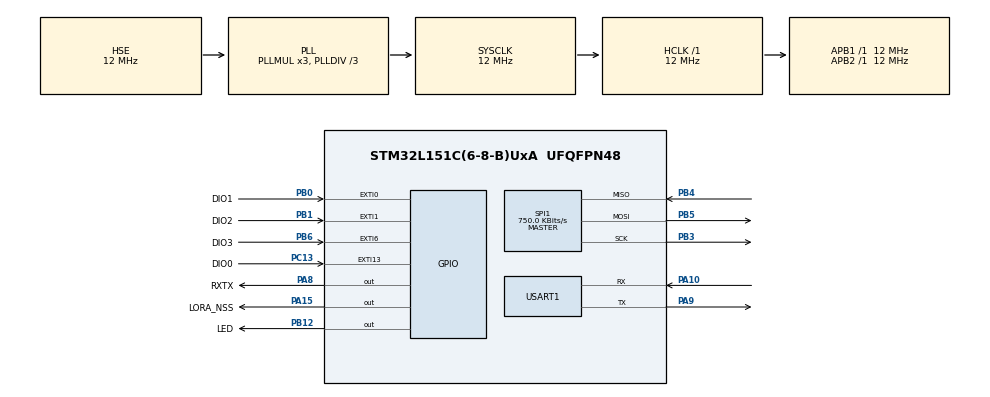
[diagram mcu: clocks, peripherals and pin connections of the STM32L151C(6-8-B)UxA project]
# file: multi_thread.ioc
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FREERTOS.INCLUDE_vTaskDelayUntil=1
FREERTOS.Tasks01=init,0,128,INIT,As weak,NULL,Dynamic,NULL,NULL
FREERTOS.configENABLE_BACKWARD_COMPATIBILITY=1
FREERTOS.configGENERATE_RUN_TIME_STATS=1
FREERTOS.configIDLE_SHOULD_YIELD=0
FREERTOS.configTIMER_TASK_PRIORITY=2
FREERTOS.configTIMER_TASK_STACK_DEPTH=128
FREERTOS.configUSE_IDLE_HOOK=0
FREERTOS.configUSE_NEWLIB_REENTRANT=0
FREERTOS.configUSE_PREEMPTION=1
FREERTOS.configUSE_STATS_FORMATTING_FUNCTIONS=1
FREERTOS.configUSE_TASK_NOTIFICATIONS=1
FREERTOS.configUSE_TICKLESS_IDLE=0
FREERTOS.configUSE_TIMERS=1
FREERTOS.configUSE_TRACE_FACILITY=1
Mcu.Family=STM32L1
Mcu.Name=STM32L151C(6-8-B)UxA
Mcu.Package=UFQFPN48
Mcu.UserConstants=BUFFER_SIZE,8
NVIC.EXTI0_IRQn=true\:6\:0\:true\:false\:true\:true\:true\:true\:true
NVIC.EXTI15_10_IRQn=true\:6\:0\:true\:false\:true\:true\:true\:true\:true
NVIC.EXTI1_IRQn=true\:6\:0\:true\:false\:true\:true\:true\:true\:true
NVIC.EXTI9_5_IRQn=true\:6\:0\:true\:false\:true\:true\:true\:true\:true
NVIC.PriorityGroup=NVIC_PRIORITYGROUP_4
NVIC.TIM2_IRQn=true\:15\:0\:false\:false\:true\:false\:false\:true\:true
NVIC.TIM3_IRQn=true\:1\:0\:true\:false\:true\:false\:true\:true\:true
NVIC.TimeBase=TIM2_IRQn
NVIC.TimeBaseIP=TIM2
NVIC.USART1_IRQn=true\:6\:0\:true\:false\:true\:true\:true\:true\:true
PA10.GPIO_PuPd=GPIO_PULLUP
PA10.Mode=Asynchronous
PA10.Signal=USART1_RX
PA15.GPIO_Label=LORA_NSS
PA15.GPIO_Speed=GPIO_SPEED_FREQ_VERY_HIGH
PA15.PinState=GPIO_PIN_SET
PA15.Signal=GPIO_Output
PA8.GPIO_Label=RXTX
PA8.GPIO_Speed=GPIO_SPEED_FREQ_VERY_HIGH
PA8.PinState=GPIO_PIN_RESET
PA8.Signal=GPIO_Output
PA9.GPIO_PuPd=GPIO_PULLUP
PA9.Mode=Asynchronous
PA9.Signal=USART1_TX
PB0.GPIO_Label=DIO1
PB0.Signal=GPXTI0
PB1.GPIO_Label=DIO2
PB1.Signal=GPXTI1
PB12.GPIO_Label=LED
PB12.GPIO_PuPd=GPIO_NOPULL
PB12.GPIO_Speed=GPIO_SPEED_FREQ_VERY_HIGH
PB12.PinState=GPIO_PIN_RESET
PB12.Signal=GPIO_Output
PB3.Mode=Full_Duplex_Master
PB3.Signal=SPI1_SCK
PB4.Mode=Full_Duplex_Master
PB4.Signal=SPI1_MISO
PB5.Mode=Full_Duplex_Master
PB5.Signal=SPI1_MOSI
PB6.GPIO_Label=DIO3
PB6.Signal=GPXTI6
PC13-WKUP2.GPIO_Label=DIO0
PC13-WKUP2.Signal=GPXTI13
PH0-OSC_IN.Mode=HSE-External-Oscillator
PH0-OSC_IN.Signal=RCC_OSC_IN
PH1-OSC_OUT.Mode=HSE-External-Oscillator
PH1-OSC_OUT.Signal=RCC_OSC_OUT
ProjectManager.HeapSize=0x200
ProjectManager.StackSize=0x400
ProjectManager.TargetToolchain=MDK-ARM V5.27
RCC.48MHZClocksFreq_Value=18000000
RCC.AHBFreq_Value=12000000
RCC.APB1Freq_Value=12000000
RCC.APB1TimFreq_Value=12000000
RCC.APB2Freq_Value=12000000
RCC.APB2TimFreq_Value=12000000
RCC.HCLKFreq_Value=12000000
RCC.HSE_VALUE=12000000
RCC.HSI_VALUE=16000000
RCC.LSE_VALUE=32768
RCC.MSI_VALUE=2097000
RCC.PLLDIV=RCC_PLL_DIV3
RCC.PLLSourceVirtual=RCC_PLLSOURCE_HSE
RCC.SYSCLKFreq_VALUE=12000000
RCC.SYSCLKSource=RCC_SYSCLKSOURCE_PLLCLK
RCC.VCOOutputFreq_Value=36000000
SPI1.BaudRatePrescaler=SPI_BAUDRATEPRESCALER_16
SPI1.CRCCalculation=SPI_CRCCALCULATION_DISABLE
SPI1.CalculateBaudRate=750.0 KBits/s
SPI1.Direction=SPI_DIRECTION_2LINES
SPI1.Mode=SPI_MODE_MASTER
SPI1.VirtualType=VM_MASTER
TIM3.Period=19
TIM3.Prescaler=5
USART1.VirtualMode=VM_ASYNC
VP_FREERTOS_VS_CMSIS_V1.Mode=CMSIS_V1
VP_SYS_VS_tim2.Mode=TIM2
VP_TIM3_VS_ClockSourceINT.Mode=Internal
board=custom

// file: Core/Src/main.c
/* USER CODE BEGIN Header */
/**
  ******************************************************************************
  * @file           : main.c
  * @brief          : Main program body
  ******************************************************************************
  * @attention
  *
  * Copyright (c) 2022 STMicroelectronics.
  * All rights reserved.
  *
  * This software is licensed under terms that can be found in the LICENSE file
  * in the root directory of this software component.
  * If no LICENSE file comes with this software, it is provided AS-IS.
  *
  ******************************************************************************
  */
/* USER CODE END Header */
#include "main.h"
#include "cmsis_os.h"
#include "spi.h"
#include "tim.h"
#include "usart.h"
#include "gpio.h"

/* USER CODE BEGIN Includes */
#include <stdio.h>
/* USER CODE END Includes */

void SystemClock_Config(void);
void MX_FREERTOS_Init(void);

int main(void)
{

  /* MCU Configuration--------------------------------------------------------*/

  /* Reset of all peripherals, Initializes the Flash interface and the Systick. */
  HAL_Init();

  /* Configure the system clock */
  SystemClock_Config();

  /* Initialize all configured peripherals */
  MX_GPIO_Init();
  MX_USART1_UART_Init();
  MX_SPI1_Init();
  MX_TIM3_Init();

  /* Call init function for freertos objects (in freertos.c) */
  MX_FREERTOS_Init();

  /* Start scheduler */
  osKernelStart();

  /* We should never get here as control is now taken by the scheduler */
  /* Infinite loop */
  while (1)
  {

  }
}

void SystemClock_Config(void)
{
  RCC_OscInitTypeDef RCC_OscInitStruct = {0};
  RCC_ClkInitTypeDef RCC_ClkInitStruct = {0};

  /** Configure the main internal regulator output voltage
  */
  __HAL_PWR_VOLTAGESCALING_CONFIG(PWR_REGULATOR_VOLTAGE_SCALE1);

  /** Initializes the RCC Oscillators according to the specified parameters
  * in the RCC_OscInitTypeDef structure.
  */
  RCC_OscInitStruct.OscillatorType = RCC_OSCILLATORTYPE_HSE;
  RCC_OscInitStruct.HSEState = RCC_HSE_ON;
  RCC_OscInitStruct.PLL.PLLState = RCC_PLL_ON;
  RCC_OscInitStruct.PLL.PLLSource = RCC_PLLSOURCE_HSE;
  RCC_OscInitStruct.PLL.PLLMUL = RCC_PLL_MUL3;
  RCC_OscInitStruct.PLL.PLLDIV = RCC_PLL_DIV3;
  if (HAL_RCC_OscConfig(&RCC_OscInitStruct) != HAL_OK)
  {
    Error_Handler();
  }

  /** Initializes the CPU, AHB and APB buses clocks
  */
  RCC_ClkInitStruct.ClockType = RCC_CLOCKTYPE_HCLK|RCC_CLOCKTYPE_SYSCLK
                              |RCC_CLOCKTYPE_PCLK1|RCC_CLOCKTYPE_PCLK2;
  RCC_ClkInitStruct.SYSCLKSource = RCC_SYSCLKSOURCE_PLLCLK;
  RCC_ClkInitStruct.AHBCLKDivider = RCC_SYSCLK_DIV1;
  RCC_ClkInitStruct.APB1CLKDivider = RCC_HCLK_DIV1;
  RCC_ClkInitStruct.APB2CLKDivider = RCC_HCLK_DIV1;

  if (HAL_RCC_ClockConfig(&RCC_ClkInitStruct, FLASH_LATENCY_0) != HAL_OK)
  {
    Error_Handler();
  }
}

void HAL_TIM_PeriodElapsedCallback(TIM_HandleTypeDef *htim)
{
  if (htim->Instance == TIM2) {
    HAL_IncTick();
  }
  /* USER CODE BEGIN Callback 1 */
  if (htim->Instance == TIM3) {
    CPU_RunTime++;
  }
  /* USER CODE END Callback 1 */
}

void Error_Handler(void)
{
  __disable_irq();
  while (1)
  {
  }
}

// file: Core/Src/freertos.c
/* USER CODE BEGIN Header */
/**
  ******************************************************************************
  * File Name          : freertos.c
  * Description        : Code for freertos applications
  ******************************************************************************
  * @attention
  *
  * Copyright (c) 2022 STMicroelectronics.
  * All rights reserved.
  *
  * This software is licensed under terms that can be found in the LICENSE file
  * in the root directory of this software component.
  * If no LICENSE file comes with this software, it is provided AS-IS.
  *
  ******************************************************************************
  */
/* USER CODE END Header */

#include "FreeRTOS.h"
#include "task.h"
#include "main.h"
#include "cmsis_os.h"

/* USER CODE BEGIN Includes */
#include <stdio.h>
#include <string.h>
#include "tim.h"
/* USER CODE END Includes */

/* USER CODE BEGIN PD */
#define STATIC
#define STACK_SIZE configMINIMAL_STACK_SIZE
/* USER CODE END PD */

/* USER CODE BEGIN Variables */
static TaskHandle_t xSensor1TaskHandle;
#ifdef STATIC
StaticTask_t xSensor1TCB;
StackType_t xStack1[STACK_SIZE];
#endif

static TaskHandle_t xSensor2TaskHandle;
#ifdef STATIC
StaticTask_t xSensor2TCB;
StackType_t xStack2[STACK_SIZE];
#endif

static TaskHandle_t xSensor3TaskHandle;
#ifdef STATIC
StaticTask_t xSensor3TCB;
StackType_t xStack3[STACK_SIZE];
#endif

// extern volatile uint32_t CPU_RunTime;
static TaskHandle_t xCPUTaskHandle;
#ifdef STATIC
StaticTask_t xCPUTCB;
StackType_t xCPUStack[STACK_SIZE];
#endif
/* USER CODE END Variables */
osThreadId initHandle;

/* USER CODE BEGIN FunctionPrototypes */
static void vSensor1TaskEntry(void *parameter);
static void vSensor2TaskEntry(void *parameter);
static void vSensor3TaskEntry(void *parameter);
static void vCPUTaskEntry(void *parameter);
/* USER CODE END FunctionPrototypes */

void INIT(void const * argument);

void MX_FREERTOS_Init(void); /* (MISRA C 2004 rule 8.1) */

/* GetIdleTaskMemory prototype (linked to static allocation support) */
void vApplicationGetIdleTaskMemory( StaticTask_t **ppxIdleTaskTCBBuffer, StackType_t **ppxIdleTaskStackBuffer, uint32_t *pulIdleTaskStackSize );

/* GetTimerTaskMemory prototype (linked to static allocation support) */
void vApplicationGetTimerTaskMemory( StaticTask_t **ppxTimerTaskTCBBuffer, StackType_t **ppxTimerTaskStackBuffer, uint32_t *pulTimerTaskStackSize );

/* Hook prototypes */
void configureTimerForRunTimeStats(void);
unsigned long getRunTimeCounterValue(void);

/* USER CODE BEGIN 1 */
/* Functions needed when configGENERATE_RUN_TIME_STATS is on */
__weak void configureTimerForRunTimeStats(void)
{
  CPU_RunTime = 0UL;
}

__weak unsigned long getRunTimeCounterValue(void)
{
  return CPU_RunTime;
}
/* USER CODE END 1 */

/* USER CODE BEGIN GET_IDLE_TASK_MEMORY */
static StaticTask_t xIdleTaskTCBBuffer;
static StackType_t xIdleStack[configMINIMAL_STACK_SIZE];

void vApplicationGetIdleTaskMemory( StaticTask_t **ppxIdleTaskTCBBuffer, StackType_t **ppxIdleTaskStackBuffer, uint32_t *pulIdleTaskStackSize )
{
  *ppxIdleTaskTCBBuffer = &xIdleTaskTCBBuffer;
  *ppxIdleTaskStackBuffer = &xIdleStack[0];
  *pulIdleTaskStackSize = configMINIMAL_STACK_SIZE;
  /* place for user code */
}
/* USER CODE END GET_IDLE_TASK_MEMORY */

/* USER CODE BEGIN GET_TIMER_TASK_MEMORY */
static StaticTask_t xTimerTaskTCBBuffer;
static StackType_t xTimerStack[configTIMER_TASK_STACK_DEPTH];

void vApplicationGetTimerTaskMemory( StaticTask_t **ppxTimerTaskTCBBuffer, StackType_t **ppxTimerTaskStackBuffer, uint32_t *pulTimerTaskStackSize )
{
  *ppxTimerTaskTCBBuffer = &xTimerTaskTCBBuffer;
  *ppxTimerTaskStackBuffer = &xTimerStack[0];
  *pulTimerTaskStackSize = configTIMER_TASK_STACK_DEPTH;
  /* place for user code */
}
/* USER CODE END GET_TIMER_TASK_MEMORY */

void MX_FREERTOS_Init(void) {

  /* Create the thread(s) */
  /* definition and creation of init */
//  osThreadDef(init, INIT, osPriorityNormal, 0, 128);
//  initHandle = osThreadCreate(osThread(init), NULL);

  /* USER CODE BEGIN RTOS_THREADS */
  /* add threads, ... */
#ifdef STATIC
  xSensor1TaskHandle = xTaskCreateStatic(vSensor1TaskEntry, "sensor1", STACK_SIZE, NULL, tskIDLE_PRIORITY + 1, xStack1, &xSensor1TCB);
  xSensor2TaskHandle = xTaskCreateStatic(vSensor2TaskEntry, "sensor2", STACK_SIZE, NULL, tskIDLE_PRIORITY + 1, xStack2, &xSensor2TCB);
  xSensor3TaskHandle = xTaskCreateStatic(vSensor3TaskEntry, "sensor3", STACK_SIZE, NULL, tskIDLE_PRIORITY + 1, xStack3, &xSensor3TCB);
  xCPUTaskHandle = xTaskCreateStatic(vCPUTaskEntry, "cpuinfo", STACK_SIZE, NULL, tskIDLE_PRIORITY + 2, xCPUStack, &xCPUTCB);
#endif

#ifdef DYNAMIC
  BaseType_t xReturn;
  xReturn = xTaskCreate(vSensor1TaskEntry, "sensor1", configMINIMAL_STACK_SIZE * 4, NULL, tskIDLE_PRIORITY + 1, &xSensor1TaskHandle);
  if (xReturn != pdPASS) {
    printf("Error creating task for sensor1.\r\n");
  }
  xReturn = xTaskCreate(vSensor2TaskEntry, "sensor2", configMINIMAL_STACK_SIZE * 4, NULL, tskIDLE_PRIORITY + 1, &xSensor2TaskHandle);
  if (xReturn != pdPASS) {
    printf("Error creating task for sensor2.\r\n");
  }
  xReturn = xTaskCreate(vSensor3TaskEntry, "sensor3", configMINIMAL_STACK_SIZE * 4, NULL, tskIDLE_PRIORITY + 1, &xSensor3TaskHandle);
  if (xReturn != pdPASS) {
    printf("Error creating task for sensor3.\r\n");
  }
#endif

  /* USER CODE END RTOS_THREADS */

}

__weak void INIT(void const * argument)
{
  /* USER CODE BEGIN INIT */
  /* Infinite loop */
  for(;;)
  {
    osDelay(1000);
    printf("init\r\n");
  }
  /* USER CODE END INIT */
}

/* USER CODE BEGIN Application */
static void vSensor1TaskEntry(void *parameter) {
  TickType_t xLastWakeTime;
  const TickType_t xFrequency = 1000;
  xLastWakeTime = xTaskGetTickCount();
  for (;;) {
    vTaskDelayUntil(&xLastWakeTime, xFrequency);
    __NOP();
    printf("sensor1.\r\n");
  }
}

static void vSensor2TaskEntry(void *parameter) {
  TickType_t xLastWakeTime;
  const TickType_t xFrequency = 2000;
  xLastWakeTime = xTaskGetTickCount();
  for (;;) {
    vTaskDelayUntil(&xLastWakeTime, xFrequency);
    __NOP();
    printf("sensor2.\r\n");
  }
}

static void vSensor3TaskEntry(void *parameter) {
  TickType_t xLastWakeTime;
  const TickType_t xFrequency = 4000;
  xLastWakeTime = xTaskGetTickCount();
  for (;;) {
    vTaskDelayUntil(&xLastWakeTime, xFrequency);
    __NOP();
    printf("sensor3.\r\n");
  }
}

static void vCPUTaskEntry(void *parameter)
{
  TickType_t xLastWakeTime;
  const TickType_t xFrequency = 8000;
  xLastWakeTime = xTaskGetTickCount();
  uint8_t *cpu_runinfo = (uint8_t *)pvPortMalloc(400 * sizeof(uint8_t));
  for (;;) {
    vTaskDelayUntil(&xLastWakeTime, xFrequency);
    memset(cpu_runinfo, 0, 400);
    vTaskList((char *) cpu_runinfo);
    printf("--------------------------------------------------\r\n");
    printf("Name                  Status  Prio   Stack     Seq\r\n");
    printf("%s", cpu_runinfo);
    printf("--------------------------------------------------\r\n");

    memset(cpu_runinfo, 0, 400);
    vTaskGetRunTimeStats((char *) cpu_runinfo);
    printf("Name                  Count          Usage\r\n");
    printf("%s", cpu_runinfo);
    printf("--------------------------------------------------\r\n");
  }
}
/* USER CODE END Application */
